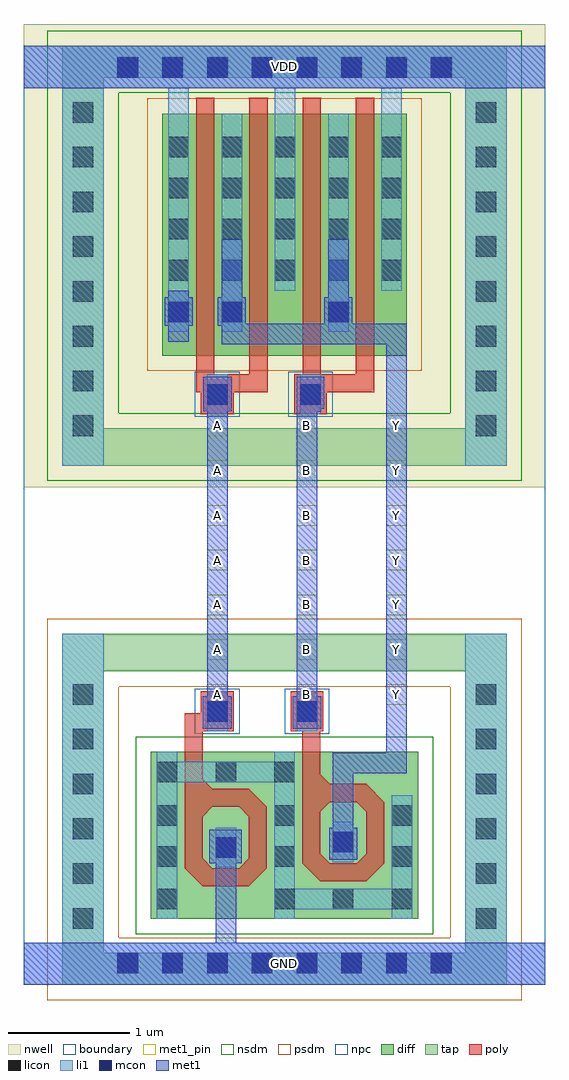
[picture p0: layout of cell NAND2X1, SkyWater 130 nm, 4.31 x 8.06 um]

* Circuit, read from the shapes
.subckt NAND2X1 A B GND VDD Y
XM1 n1 A GND GND sky130_fd_pr__nfet_01v8 w=2.6 l=0.1469
XM2 n1 B Y GND sky130_fd_pr__nfet_01v8 w=2.56 l=0.1475
XM3 Y A VDD VDD sky130_fd_pr__pfet_01v8 w=2 l=0.15 m=2
XM4 Y B VDD VDD sky130_fd_pr__pfet_01v8 w=2 l=0.15 m=2
.ends

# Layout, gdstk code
from math import pi, radians
import gdstk
lib = gdstk.Library(unit=1e-6, precision=1e-09)
def R(c, l, rs):  # rectangles x0, y0, x1, y1
    for r in rs: c.add(gdstk.rectangle(r[:2], r[2:], *l))
def A(c, l, x, y, w, h, nx, ny, dx, dy):  # array of equal rectangles
    R(c, l, [(x+i*dx, y+j*dy, x+i*dx+w, y+j*dy+h) for i in range(nx) for j in range(ny)])
def P(c, l, *ps):  # polygons
    for p in ps: c.add(gdstk.Polygon(p, *l))
nwell = (64, 20)
diff = (65, 20)
tap = (65, 44)
poly = (66, 20)
licon = (66, 44)
li1 = (67, 20)
mcon = (67, 44)
met1_pin = (68, 16)
met1 = (68, 20)
nsdm = (93, 44)
psdm = (94, 20)
npc = (95, 20)
boundary = (235, 4)

diff_ring_side = lib.new_cell('diff_ring_side')
R(diff_ring_side, nwell, [(-0.435,3.93,0.435,7.75)])
R(diff_ring_side, tap, [(-0.17,-0.17,0.17,2.72), (-0.17,4.11,0.17,7.57)])
A(diff_ring_side, licon, -0.085, 0.285, 0.17, 0.17, 1, 6, 0, 0.37)
A(diff_ring_side, licon, -0.085, 4.355, 0.17, 0.17, 1, 8, 0, 0.37)
R(diff_ring_side, li1, [(-0.17,-0.17,0.17,2.72), (-0.17,4.11,0.17,7.57)])
R(diff_ring_side, met1, [(-0.17,-0.17,0.17,0.17), (-0.17,7.23,0.17,7.57)])
R(diff_ring_side, nsdm, [(-0.295,3.985,0.295,7.695)])
R(diff_ring_side, psdm, [(-0.295,-0.295,0.295,2.845)])

nmos_bottom = lib.new_cell('nmos_bottom')
R(nmos_bottom, diff, [(0,0,1.24,1.38)])
R(nmos_bottom, poly, [(0.43,0.27,0.81,0.42), (0.28,0.42,0.43,0.925), (0.81,0.42,0.96,0.925), (0.43,0.925,0.96,1.075), (0.81,1.075,0.96,1.51)])
P(nmos_bottom, poly, [(0.73,1.075),(0.81,1.075),(0.81,1.155)],
  [(0.28,0.925),(0.43,0.925),(0.43,1.075)],
  [(0.43,0.845),(0.43,0.925),(0.51,0.925)],
  [(0.73,0.925),(0.81,0.925),(0.81,0.845)],
  [(0.43,0.5),(0.43,0.42),(0.51,0.42)],
  [(0.73,0.42),(0.81,0.42),(0.81,0.5)],
  [(0.28,0.42),(0.43,0.42),(0.43,0.27)],
  [(0.81,0.27),(0.81,0.42),(0.96,0.42)])
A(nmos_bottom, licon, 0.05, 1.13, 0.17, 0.17, 3, 1, 0.485, 0)
R(nmos_bottom, licon, [(0.05,0.08,0.22,0.25), (1.02,0.08,1.19,0.25), (0.05,0.43,0.22,0.6), (1.02,0.43,1.19,0.6), (0.535,0.505,0.705,0.675), (0.05,0.77,0.22,0.94), (1.02,0.77,1.19,0.94)])
R(nmos_bottom, li1, [(0.05,0,0.22,1.13), (1.02,0,1.19,1.13), (0.535,0.425,0.705,0.755), (0.05,1.13,1.19,1.3), (0.05,1.3,0.22,1.38), (1.02,1.3,1.19,1.38)])
R(nmos_bottom, nsdm, [(-0.125,-0.125,1.365,1.505)])

pmos2 = lib.new_cell('pmos2')
R(pmos2, nwell, [(0.26,-2.18,1.76,0.18)])
R(pmos2, diff, [(0.44,-2,1.58,0)])
R(pmos2, poly, [(0.72,-2.305,1.31,-2.155), (0.72,-2.155,0.87,0.13), (1.16,-2.155,1.31,0.13)])
A(pmos2, licon, 0.49, -1.38, 0.17, 0.17, 3, 4, 0.44, 0.34)
R(pmos2, li1, [(0.49,-1.465,0.66,0.21), (0.93,-1.465,1.1,0), (1.37,-1.465,1.54,0.21)])
R(pmos2, psdm, [(0.315,-2.125,1.705,0.125)])

poly_li1_contact = lib.new_cell('poly_li1_contact')
R(poly_li1_contact, poly, [(-0.16,-0.14,0.17,0.13)])
R(poly_li1_contact, licon, [(-0.08,-0.09,0.09,0.08)])
R(poly_li1_contact, li1, [(-0.16,-0.09,0.17,0.08)])
R(poly_li1_contact, npc, [(-0.18,-0.19,0.19,0.18)])

nmos_top_trim1 = lib.new_cell('nmos_top_trim1')
R(nmos_top_trim1, diff, [(0,0,1.24,1.38)])
R(nmos_top_trim1, poly, [(0.43,0.31,0.81,0.46), (0.28,0.46,0.43,0.965), (0.81,0.46,0.96,0.965), (0.43,0.965,0.96,1.115), (0.81,1.115,0.96,1.545)])
P(nmos_top_trim1, poly, [(0.73,1.115),(0.81,1.115),(0.81,1.195)],
  [(0.28,0.965),(0.43,0.965),(0.43,1.115)],
  [(0.43,0.885),(0.43,0.965),(0.51,0.965)],
  [(0.73,0.965),(0.81,0.965),(0.81,0.885)],
  [(0.43,0.54),(0.43,0.46),(0.51,0.46)],
  [(0.73,0.46),(0.81,0.46),(0.81,0.54)],
  [(0.28,0.46),(0.43,0.46),(0.43,0.31)],
  [(0.81,0.31),(0.81,0.46),(0.96,0.46)])
A(nmos_top_trim1, licon, 0.05, 0.08, 0.17, 0.17, 3, 1, 0.485, 0)
R(nmos_top_trim1, licon, [(0.05,0.43,0.22,0.6), (1.02,0.43,1.19,0.6), (0.535,0.55,0.705,0.72), (0.05,0.77,0.22,0.94), (1.02,0.77,1.19,0.94), (1.02,1.13,1.19,1.3)])
R(nmos_top_trim1, li1, [(0.05,0,0.22,0.08), (1.02,0,1.19,0.08), (0.05,0.08,1.19,0.25), (0.05,0.25,0.22,1.02), (1.02,0.25,1.19,1.38), (0.535,0.47,0.705,0.805)])
R(nmos_top_trim1, nsdm, [(-0.125,-0.125,1.365,1.505)])

nand2x1_pcell = lib.new_cell('nand2x1_pcell')
R(nand2x1_pcell, nwell, [(0.435,3.93,2.895,7.75)])
R(nand2x1_pcell, diff, [(1.115,5.265,1.345,5.5), (1.995,5.265,2.225,5.5), (0.705,5.295,0.875,5.465)])
R(nand2x1_pcell, tap, [(0.17,-0.17,3.16,-0.15), (0.155,-0.15,3.175,0.085), (0.155,2.4,0.17,2.41), (3.16,2.4,3.175,2.41), (0.155,2.41,3.175,2.71), (0.17,2.71,3.16,2.72), (0.17,4.11,3.16,4.42), (0.17,7.315,3.16,7.57)])
R(nand2x1_pcell, poly, [(0.84,1.875,0.99,2.065), (1.81,1.91,1.96,1.915)])
A(nand2x1_pcell, licon, 0.285, -0.085, 0.17, 0.17, 8, 2, 0.37, 7.4)
R(nand2x1_pcell, licon, [(0.705,5.295,0.875,5.465), (1.145,5.295,1.315,5.465), (2.025,5.295,2.195,5.465)])
R(nand2x1_pcell, li1, [(0.165,-0.17,3.295,0.17), (1.095,0.87,1.265,1.04), (2.065,0.915,2.235,1.085), (1.025,1.995,1.195,2.165), (1.765,1.995,1.935,2.165), (1.025,4.615,1.195,4.785), (1.795,4.615,1.965,4.785), (0.705,5.215,0.875,5.61), (1.145,5.215,1.315,5.61), (2.025,5.215,2.195,5.61), (-0.17,7.23,3.17,7.57)])
A(nand2x1_pcell, mcon, 0.285, -0.085, 0.17, 0.17, 8, 2, 0.37, 7.4)
R(nand2x1_pcell, mcon, [(1.095,0.87,1.265,1.04), (2.065,0.915,2.235,1.085), (1.025,1.995,1.195,2.165), (1.765,1.995,1.935,2.165), (1.025,4.615,1.195,4.785), (1.795,4.615,1.965,4.785), (0.705,5.295,0.875,5.465), (1.145,5.295,1.315,5.465), (2.025,5.295,2.195,5.465)])
R(nand2x1_pcell, met1, [(-0.17,-0.17,3.5,0.17), (1.095,0.17,1.265,0.825), (1.045,0.825,1.31,1.1), (2.035,0.855,2.265,1.12), (2.065,1.12,2.235,1.57), (2.065,1.57,2.675,1.74), (2.505,1.74,2.675,5.115), (0.99,1.935,1.23,2.205), (1.735,1.935,1.97,2.205), (1.025,2.205,1.195,4.56), (1.765,2.205,1.935,4.555), (1.765,4.555,1.97,4.58), (0.995,4.56,1.23,4.845), (1.765,4.58,1.995,4.845), (1.145,5.115,2.675,5.265), (0.705,5.135,0.875,5.265), (0.675,5.265,0.905,5.5), (1.115,5.265,2.675,5.285), (1.115,5.285,1.345,5.5), (1.995,5.285,2.225,5.5), (0.705,5.5,0.875,5.555), (1.145,5.5,1.315,5.98), (2.025,5.5,2.195,5.98), (-0.17,7.23,3.5,7.57)])
R(nand2x1_pcell, nsdm, [(0.045,3.985,3.285,4.545), (0.045,7.19,3.285,7.695)])
R(nand2x1_pcell, psdm, [(0.045,-0.295,3.285,-0.275), (0.03,-0.275,3.3,0.21), (0.03,2.275,0.295,2.285), (3.035,2.275,3.3,2.285), (0.03,2.285,3.3,2.835), (0.045,2.835,3.285,2.845), (0.99,5.14,1.47,5.17), (1.87,5.14,2.35,5.625), (0.58,5.17,1.47,5.59), (0.99,5.59,1.47,5.625)])
nand2x1_pcell.add(gdstk.Reference(diff_ring_side, (0,0)))
nand2x1_pcell.add(gdstk.Reference(nmos_bottom, (1.8,0.365), rotation=pi, x_reflection=True))
nand2x1_pcell.add(gdstk.Reference(pmos2, (0.215,7.02)))
nand2x1_pcell.add(gdstk.Reference(poly_li1_contact, (1.115,4.705), rotation=3*pi/2))
nand2x1_pcell.add(gdstk.Reference(poly_li1_contact, (1.115,2.085), rotation=3*pi/2))
nand2x1_pcell.add(gdstk.Reference(nmos_top_trim1, (2.77,0.365), rotation=pi, x_reflection=True))
nand2x1_pcell.add(gdstk.Reference(pmos2, (1.095,7.02)))
nand2x1_pcell.add(gdstk.Reference(poly_li1_contact, (1.845,2.075), rotation=pi/2))
nand2x1_pcell.add(gdstk.Reference(poly_li1_contact, (1.885,4.705), rotation=3*pi/2))
nand2x1_pcell.add(gdstk.Reference(diff_ring_side, (3.33,0)))

nand2x1 = lib.new_cell('NAND2X1')
R(nand2x1, nwell, [(0,4.11,4.31,7.94)])
R(nand2x1, tap, [(0.32,0,3.99,0.08), (0.32,7.74,3.99,7.76)])
R(nand2x1, li1, [(0,0,4.31,0.35), (0,7.41,4.31,7.76)])
A(nand2x1, met1_pin, 1.515, 2.315, 0.17, 0.17, 3, 7, 0.74, 0.37)
R(nand2x1, met1_pin, [(0,0,4.31,0.35), (0,7.41,4.31,7.76)])
A(nand2x1, met1, 1.515, 2.315, 0.17, 0.17, 3, 7, 0.74, 0.37)
R(nand2x1, met1, [(0,0,4.31,0.35), (0,7.41,4.31,7.76)])
R(nand2x1, nsdm, [(0.195,7.615,4.115,7.885)])
R(nand2x1, psdm, [(0.195,-0.125,4.115,0.205)])
R(nand2x1, boundary, [(0,0,4.31,7.76)])
nand2x1.add(gdstk.Reference(nand2x1_pcell, (0.49,0.18)))
nand2x1.add(gdstk.Label('Y', (3.08,2.4), layer=68, texttype=5))
nand2x1.add(gdstk.Label('Y', (3.08,2.77), layer=68, texttype=5))
nand2x1.add(gdstk.Label('Y', (3.08,3.14), layer=68, texttype=5))
nand2x1.add(gdstk.Label('Y', (3.08,4.62), layer=68, texttype=5))
nand2x1.add(gdstk.Label('Y', (3.08,4.25), layer=68, texttype=5))
nand2x1.add(gdstk.Label('Y', (3.08,3.88), layer=68, texttype=5))
nand2x1.add(gdstk.Label('Y', (3.08,3.51), layer=68, texttype=5))
nand2x1.add(gdstk.Label('A', (1.6,4.62), layer=68, texttype=5))
nand2x1.add(gdstk.Label('A', (1.6,2.4), layer=68, texttype=5))
nand2x1.add(gdstk.Label('A', (1.6,2.77), layer=68, texttype=5))
nand2x1.add(gdstk.Label('A', (1.6,3.14), layer=68, texttype=5))
nand2x1.add(gdstk.Label('A', (1.6,3.51), layer=68, texttype=5))
nand2x1.add(gdstk.Label('A', (1.6,3.88), layer=68, texttype=5))
nand2x1.add(gdstk.Label('A', (1.6,4.25), layer=68, texttype=5))
nand2x1.add(gdstk.Label('B', (2.34,2.4), layer=68, texttype=5))
nand2x1.add(gdstk.Label('B', (2.34,2.77), layer=68, texttype=5))
nand2x1.add(gdstk.Label('B', (2.34,3.14), layer=68, texttype=5))
nand2x1.add(gdstk.Label('B', (2.34,4.62), layer=68, texttype=5))
nand2x1.add(gdstk.Label('B', (2.34,4.25), layer=68, texttype=5))
nand2x1.add(gdstk.Label('B', (2.34,3.88), layer=68, texttype=5))
nand2x1.add(gdstk.Label('B', (2.34,3.51), layer=68, texttype=5))
nand2x1.add(gdstk.Label('VDD', (2.155,7.585), layer=68, texttype=5))
nand2x1.add(gdstk.Label('GND', (2.155,0.175), layer=68, texttype=5))

lib.write_gds('NAND2X1.gds')
